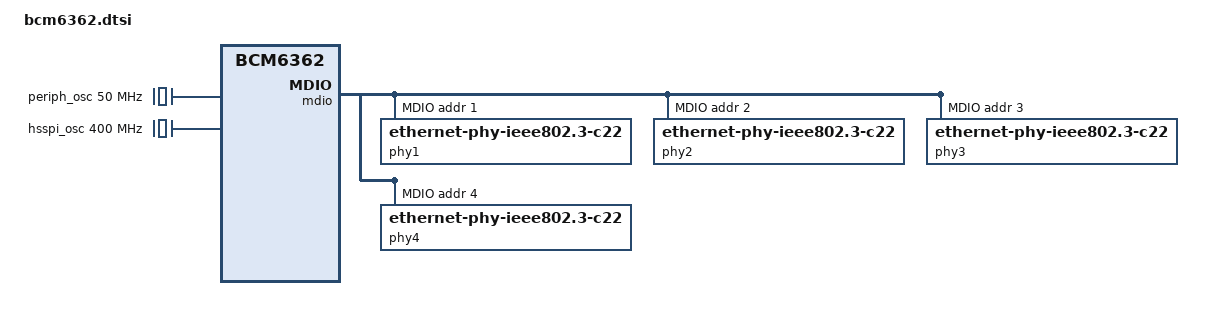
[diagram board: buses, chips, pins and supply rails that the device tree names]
// SPDX-License-Identifier: GPL-2.0-or-later

/dts-v1/;

#include <dt-bindings/clock/bcm6362-clock.h>
#include <dt-bindings/gpio/gpio.h>
#include <dt-bindings/input/input.h>
#include <dt-bindings/interrupt-controller/bcm6362-interrupt-controller.h>
#include <dt-bindings/reset/bcm6362-reset.h>
#include <dt-bindings/soc/bcm6362-pm.h>

/ {
	#address-cells = <1>;
	#size-cells = <1>;
	compatible = "brcm,bcm6362";

	aliases {
		nflash = &nflash;
		pinctrl = &pinctrl;
		serial0 = &uart0;
		serial1 = &uart1;
		spi0 = &lsspi;
		spi1 = &hsspi;
	};

	chosen {
		bootargs = "earlycon";
		stdout-path = "serial0:115200n8";
	};

	clocks {
		periph_osc: periph-osc {
			compatible = "fixed-clock";

			#clock-cells = <0>;

			clock-frequency = <50000000>;
			clock-output-names = "periph";
		};

		hsspi_osc: hsspi-osc {
			compatible = "fixed-clock";

			#clock-cells = <0>;

			clock-frequency = <400000000>;
			clock-output-names = "hsspi_osc";
		};
	};

	cpus {
		#address-cells = <1>;
		#size-cells = <0>;
		mips-hpt-frequency = <200000000>;

		cpu@0 {
			compatible = "brcm,bmips4350", "mips,mips4Kc";
			device_type = "cpu";
			reg = <0>;
		};

		cpu@1 {
			compatible = "brcm,bmips4350", "mips,mips4Kc";
			device_type = "cpu";
			reg = <1>;
		};
	};

	cpu_intc: interrupt-controller {
		#address-cells = <0>;
		compatible = "mti,cpu-interrupt-controller";

		interrupt-controller;
		#interrupt-cells = <1>;
	};

	memory@0 {
		device_type = "memory";
		reg = <0 0>;
	};

	ubus {
		#address-cells = <1>;
		#size-cells = <1>;

		compatible = "simple-bus";
		ranges;

		periph_clk: clock-controller@10000004 {
			compatible = "brcm,bcm6362-clocks";
			reg = <0x10000004 0x4>;
			#clock-cells = <1>;
		};

		pll_cntl: syscon@10000008 {
			compatible = "syscon", "simple-mfd";
			reg = <0x10000008 0x4>;
			native-endian;

			syscon-reboot {
				compatible = "syscon-reboot";
				offset = <0x0>;
				mask = <0x1>;
			};
		};

		periph_rst: reset-controller@10000010 {
			compatible = "brcm,bcm6345-reset";
			reg = <0x10000010 0x4>;
			#reset-cells = <1>;
		};

		ext_intc: interrupt-controller@10000018 {
			#address-cells = <1>;
			compatible = "brcm,bcm6345-ext-intc";
			reg = <0x10000018 0x4>;

			interrupt-controller;
			#interrupt-cells = <2>;

			interrupts = <BCM6362_IRQ_EXT0>,
				     <BCM6362_IRQ_EXT1>,
				     <BCM6362_IRQ_EXT2>,
				     <BCM6362_IRQ_EXT3>;
		};

		periph_intc: interrupt-controller@10000020 {
			#address-cells = <1>;
			compatible = "brcm,bcm6345-l1-intc";
			reg = <0x10000020 0x10>,
			      <0x10000030 0x10>;

			interrupt-controller;
			#interrupt-cells = <1>;

			interrupt-parent = <&cpu_intc>;
			interrupts = <2>, <3>;
		};

		wdt: watchdog@1000005c {
			compatible = "brcm,bcm7038-wdt";
			reg = <0x1000005c 0xc>;

			clocks = <&periph_osc>;

			timeout-sec = <30>;
		};

		gpio_cntl: syscon@10000080 {
			compatible = "brcm,bcm6362-gpio-sysctl",
				     "syscon", "simple-mfd";
			reg = <0x10000080 0x80>;
			ranges = <0 0x10000080 0x80>;
			native-endian;

			gpio: gpio@0 {
				compatible = "brcm,bcm6362-gpio";
				reg-names = "dirout", "dat";
				reg = <0x0 0x8>, <0x8 0x8>;

				gpio-controller;
				gpio-ranges = <&pinctrl 0 0 48>;
				#gpio-cells = <2>;
			};

			pinctrl: pinctrl@18 {
				compatible = "brcm,bcm6362-pinctrl";
				reg = <0x18 0x10>, <0x38 0x4>;

				pinctrl_usb_device_led: usb_device_led-pins {
					function = "usb_device_led";
					pins = "gpio0";
				};

				pinctrl_sys_irq: sys_irq-pins {
					function = "sys_irq";
					pins = "gpio1";
				};

				pinctrl_serial_led: serial_led-pins {
					pinctrl_serial_led_clk: serial_led_clk-pins {
						function = "serial_led_clk";
						pins = "gpio2";
					};

					pinctrl_serial_led_data: serial_led_data-pins {
						function = "serial_led_data";
						pins = "gpio3";
					};
				};

				pinctrl_robosw_led_data: robosw_led_data-pins {
					function = "robosw_led_data";
					pins = "gpio4";
				};

				pinctrl_robosw_led_clk: robosw_led_clk-pins {
					function = "robosw_led_clk";
					pins = "gpio5";
				};

				pinctrl_robosw_led0: robosw_led0-pins {
					function = "robosw_led0";
					pins = "gpio6";
				};

				pinctrl_robosw_led1: robosw_led1-pins {
					function = "robosw_led1";
					pins = "gpio7";
				};

				pinctrl_inet_led: inet_led-pins {
					function = "inet_led";
					pins = "gpio8";
				};

				pinctrl_spi_cs2: spi_cs2-pins {
					function = "spi_cs2";
					pins = "gpio9";
				};

				pinctrl_spi_cs3: spi_cs3-pins {
					function = "spi_cs3";
					pins = "gpio10";
				};

				pinctrl_ntr_pulse: ntr_pulse-pins {
					function = "ntr_pulse";
					pins = "gpio11";
				};

				pinctrl_uart1_scts: uart1_scts-pins {
					function = "uart1_scts";
					pins = "gpio12";
				};

				pinctrl_uart1_srts: uart1_srts-pins {
					function = "uart1_srts";
					pins = "gpio13";
				};

				pinctrl_uart1: uart1-pins {
					pinctrl_uart1_sdin: uart1_sdin-pins {
						function = "uart1_sdin";
						pins = "gpio14";
					};

					pinctrl_uart1_sdout: uart1_sdout-pins {
						function = "uart1_sdout";
						pins = "gpio15";
					};
				};

				pinctrl_adsl_spi: adsl_spi-pins {
					pinctrl_adsl_spi_miso: adsl_spi_miso-pins {
						function = "adsl_spi_miso";
						pins = "gpio16";
					};

					pinctrl_adsl_spi_mosi: adsl_spi_mosi-pins {
						function = "adsl_spi_mosi";
						pins = "gpio17";
					};

					pinctrl_adsl_spi_clk: adsl_spi_clk-pins {
						function = "adsl_spi_clk";
						pins = "gpio18";
					};

					pinctrl_adsl_spi_cs: adsl_spi_cs-pins {
						function = "adsl_spi_cs";
						pins = "gpio19";
					};
				};

				pinctrl_ephy0_led: ephy0_led-pins {
					function = "ephy0_led";
					pins = "gpio20";
				};

				pinctrl_ephy1_led: ephy1_led-pins {
					function = "ephy1_led";
					pins = "gpio21";
				};

				pinctrl_ephy2_led: ephy2_led-pins {
					function = "ephy2_led";
					pins = "gpio22";
				};

				pinctrl_ephy3_led: ephy3_led-pins {
					function = "ephy3_led";
					pins = "gpio23";
				};

				pinctrl_ext_irq0: ext_irq0-pins {
					function = "ext_irq0";
					pins = "gpio24";
				};

				pinctrl_ext_irq1: ext_irq1-pins {
					function = "ext_irq1";
					pins = "gpio25";
				};

				pinctrl_ext_irq2: ext_irq2-pins {
					function = "ext_irq2";
					pins = "gpio26";
				};

				pinctrl_ext_irq3: ext_irq3-pins {
					function = "ext_irq3";
					pins = "gpio27";
				};

				pinctrl_nand: nand-pins {
					function = "nand";
					group = "nand_grp";
				};
			};
		};

		uart0: serial@10000100 {
			compatible = "brcm,bcm6345-uart";
			reg = <0x10000100 0x18>;

			interrupt-parent = <&periph_intc>;
			interrupts = <BCM6362_IRQ_UART0>;

			clocks = <&periph_osc>;
			clock-names = "periph";

			status = "disabled";
		};

		uart1: serial@10000120 {
			compatible = "brcm,bcm6345-uart";
			reg = <0x10000120 0x18>;

			interrupt-parent = <&periph_intc>;
			interrupts = <BCM6362_IRQ_UART1>;

			clocks = <&periph_osc>;
			clock-names = "periph";

			status = "disabled";
		};

		nflash: nand@10000200 {
			#address-cells = <1>;
			#size-cells = <0>;
			compatible = "brcm,nand-bcm6368",
				     "brcm,brcmnand-v2.2",
				     "brcm,brcmnand";
			reg = <0x10000200 0x180>,
			      <0x10000600 0x200>,
			      <0x10000070 0x10>;
			reg-names = "nand",
				    "nand-cache",
				    "nand-int-base";

			interrupt-parent = <&periph_intc>;
			interrupts = <BCM6362_IRQ_NAND>;

			clocks = <&periph_clk BCM6362_CLK_NAND>;
			clock-names = "nand";

			pinctrl-names = "default";
			pinctrl-0 = <&pinctrl_nand>;

			status = "disabled";
		};

		lsspi: spi@10000800 {
			#address-cells = <1>;
			#size-cells = <0>;
			compatible = "brcm,bcm6358-spi";
			reg = <0x10000800 0x70c>;

			interrupt-parent = <&periph_intc>;
			interrupts = <BCM6362_IRQ_LSSPI>;

			clocks = <&periph_clk BCM6362_CLK_SPI>;
			clock-names = "spi";

			resets = <&periph_rst BCM6362_RST_SPI>;

			status = "disabled";
		};

		hsspi: spi@10001000 {
			#address-cells = <1>;
			#size-cells = <0>;
			compatible = "brcm,bcm6328-hsspi";
			reg = <0x10001000 0x600>;

			interrupt-parent = <&periph_intc>;
			interrupts = <BCM6362_IRQ_HSSPI>;

			clocks = <&periph_clk BCM6362_CLK_HSSPI>,
				 <&hsspi_osc>;
			clock-names = "hsspi",
				      "pll";

			resets = <&periph_rst BCM6362_RST_SPI>;

			status = "disabled";
		};

		serdes_cntl: syscon@10001804 {
			compatible = "syscon";
			reg = <0x10001804 0x4>;
			native-endian;
		};

		periph_pwr: power-controller@10001848 {
			compatible = "brcm,bcm6362-power-controller";
			reg = <0x10001848 0x4>;
			#power-domain-cells = <1>;
		};

		leds: led-controller@10001900 {
			#address-cells = <1>;
			#size-cells = <0>;
			compatible = "brcm,bcm6328-leds";
			reg = <0x10001900 0x24>;

			status = "disabled";
		};

		ehci: usb@10002500 {
			compatible = "brcm,bcm6362-ehci", "generic-ehci";
			reg = <0x10002500 0x100>;
			big-endian;
			spurious-oc;

			interrupt-parent = <&periph_intc>;
			interrupts = <BCM6362_IRQ_EHCI>;

			phys = <&usbh 0>;
			phy-names = "usb";

			status = "disabled";
		};

		ohci: usb@10002600 {
			compatible = "brcm,bcm6362-ohci", "generic-ohci";
			reg = <0x10002600 0x100>;
			big-endian;
			no-big-frame-no;

			interrupt-parent = <&periph_intc>;
			interrupts = <BCM6362_IRQ_OHCI>;

			phys = <&usbh 0>;
			phy-names = "usb";

			status = "disabled";
		};

		usbh: usb-phy@10002700 {
			compatible = "brcm,bcm6362-usbh-phy";
			reg = <0x10002700 0x38>;

			#phy-cells = <1>;

			clocks = <&periph_clk BCM6362_CLK_USBH>;
			clock-names = "usbh";

			power-domains = <&periph_pwr BCM6362_POWER_DOMAIN_USBH>;
			resets = <&periph_rst BCM6362_RST_USBH>;

			status = "disabled";
		};

		ethernet: ethernet@1000d800 {
			compatible = "brcm,bcm6362-enetsw";
			reg = <0x1000d800 0x80>,
			      <0x1000da00 0x80>,
			      <0x1000dc00 0x80>;
			reg-names = "dma",
				    "dma-channels",
				    "dma-sram";

			interrupt-parent = <&periph_intc>;
			interrupts = <BCM6362_IRQ_ENETSW_RX_DMA0>;
			interrupt-names = "rx";

			clocks = <&periph_clk BCM6362_CLK_SWPKT_USB>,
				 <&periph_clk BCM6362_CLK_SWPKT_SAR>,
				 <&periph_clk BCM6362_CLK_ROBOSW>;

			resets = <&periph_rst BCM6362_RST_ENETSW>,
				 <&periph_rst BCM6362_RST_EPHY>;

			power-domains = <&periph_pwr BCM6362_POWER_DOMAIN_ROBOSW>,
					<&periph_pwr BCM6362_POWER_DOMAIN_GMII_PADS>;

			dma-rx = <0>;
			dma-tx = <1>;

			status = "disabled";
		};

		switch0: switch@10e00000 {
			#address-cells = <1>;
			#size-cells = <0>;
			compatible = "brcm,bcm6328-switch";
			reg = <0x10e00000 0x8000>;
			big-endian;

			ports {
				#address-cells = <1>;
				#size-cells = <0>;

				port@8 {
					reg = <8>;
					label = "cpu";

					phy-mode = "internal";
					ethernet = <&ethernet>;

					fixed-link {
						speed = <1000>;
						full-duplex;
					};
				};
			};
		};

		mdio: mdio@10e000b0 {
			#address-cells = <1>;
			#size-cells = <0>;
			compatible = "brcm,bcm6368-mdio-mux";
			reg = <0x10e000b0 0x8>;

			mdio_int: mdio@0 {
				#address-cells = <1>;
				#size-cells = <0>;
				reg = <0>;

				phy1: ethernet-phy@1 {
					compatible = "ethernet-phy-ieee802.3-c22";
					reg = <1>;
				};

				phy2: ethernet-phy@2 {
					compatible = "ethernet-phy-ieee802.3-c22";
					reg = <2>;
				};

				phy3: ethernet-phy@3 {
					compatible = "ethernet-phy-ieee802.3-c22";
					reg = <3>;
				};

				phy4: ethernet-phy@4 {
					compatible = "ethernet-phy-ieee802.3-c22";
					reg = <4>;
				};
			};

			mdio_ext: mdio@1 {
				#address-cells = <1>;
				#size-cells = <0>;
				reg = <1>;
			};
		};

		pcie: pcie@10e40000 {
			compatible = "brcm,bcm6328-pcie";
			reg = <0x10e40000 0x10000>;
			#address-cells = <3>;
			#size-cells = <2>;

			device_type = "pci";
			bus-range = <0x00 0x01>;
			ranges = <0x2000000 0 0x10f00000 0x10f00000 0 0x100000>;
			linux,pci-probe-only = <1>;

			interrupt-parent = <&periph_intc>;
			interrupts = <BCM6362_IRQ_PCIE_RC>;

			clocks = <&periph_clk BCM6362_CLK_PCIE>;
			clock-names = "pcie";

			resets = <&periph_rst BCM6362_RST_PCIE>,
				 <&periph_rst BCM6362_RST_PCIE_EXT>,
				 <&periph_rst BCM6362_RST_PCIE_CORE>;
			reset-names = "pcie",
				      "pcie-ext",
				      "pcie-core";

			power-domains = <&periph_pwr BCM6362_POWER_DOMAIN_PCIE>;

			brcm,serdes = <&serdes_cntl>;

			status = "disabled";
		};
	};
};
